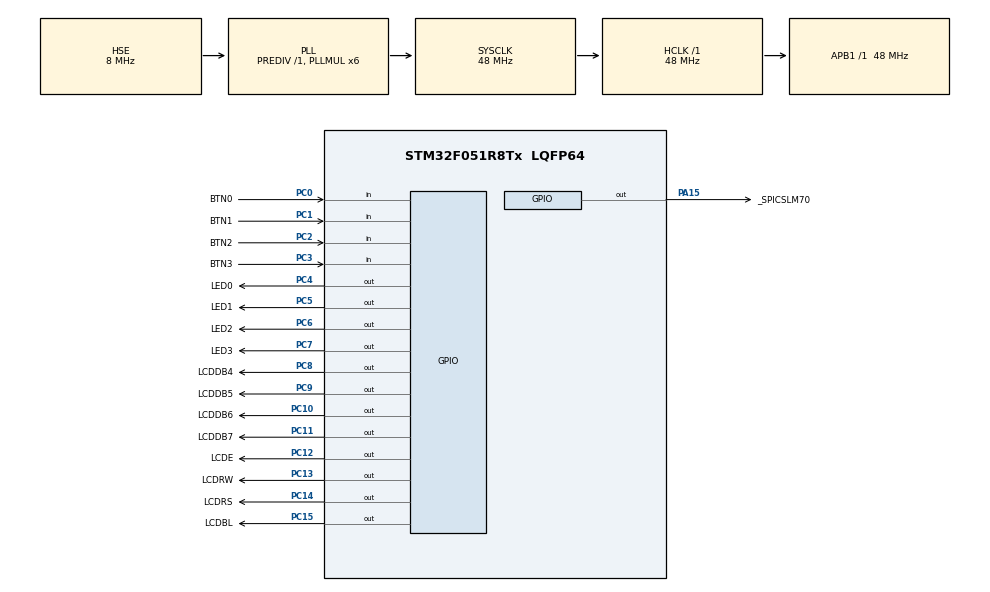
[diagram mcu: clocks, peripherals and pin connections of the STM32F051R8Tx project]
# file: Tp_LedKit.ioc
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Mcu.Family=STM32F0
Mcu.Name=STM32F051R8Tx
Mcu.Package=LQFP64
PA13.Mode=Serial_Wire
PA13.Signal=SYS_SWDIO
PA14.Mode=Serial_Wire
PA14.Signal=SYS_SWCLK
PA15.GPIO_Label=_SPICSLM70
PA15.PinState=GPIO_PIN_SET
PA15.Signal=GPIO_Output
PA5.GPIO_Label=SPISCK
PA5.Signal=SPI1_SCK
PA6.GPIO_Label=SPIMISO
PA6.Signal=SPI1_MISO
PC0.GPIO_Label=BTN0
PC0.Signal=GPIO_Input
PC1.GPIO_Label=BTN1
PC1.Signal=GPIO_Input
PC10.GPIO_Label=LCDDB6
PC10.Signal=GPIO_Output
PC11.GPIO_Label=LCDDB7
PC11.Signal=GPIO_Output
PC12.GPIO_Label=LCDE
PC12.Signal=GPIO_Output
PC13.GPIO_Label=LCDRW
PC13.Signal=GPIO_Output
PC14-OSC32_IN.GPIO_Label=LCDRS
PC14-OSC32_IN.Signal=GPIO_Output
PC15-OSC32_OUT.GPIO_Label=LCDBL
PC15-OSC32_OUT.Signal=GPIO_Output
PC2.GPIO_Label=BTN2
PC2.Signal=GPIO_Input
PC3.GPIO_Label=BTN3
PC3.Signal=GPIO_Input
PC4.GPIO_Label=LED0
PC4.PinState=GPIO_PIN_SET
PC4.Signal=GPIO_Output
PC5.GPIO_Label=LED1
PC5.PinState=GPIO_PIN_SET
PC5.Signal=GPIO_Output
PC6.GPIO_Label=LED2
PC6.PinState=GPIO_PIN_SET
PC6.Signal=GPIO_Output
PC7.GPIO_Label=LED3
PC7.PinState=GPIO_PIN_SET
PC7.Signal=GPIO_Output
PC8.GPIO_Label=LCDDB4
PC8.Signal=GPIO_Output
PC9.GPIO_Label=LCDDB5
PC9.Signal=GPIO_Output
PF0-OSC_IN.GPIO_Label=OSCIN
PF0-OSC_IN.Mode=HSE-External-Oscillator
PF0-OSC_IN.Signal=RCC_OSC_IN
PF1-OSC_OUT.GPIO_Label=OSCOUT
PF1-OSC_OUT.Mode=HSE-External-Oscillator
PF1-OSC_OUT.Signal=RCC_OSC_OUT
PF6.Signal=I2C2_SCL
PF7.Signal=I2C2_SDA
ProjectManager.HeapSize=0x200
ProjectManager.StackSize=0x400
ProjectManager.TargetToolchain=MDK-ARM V5
RCC.AHBFreq_Value=48000000
RCC.APB1Freq_Value=48000000
RCC.APB1TimFreq_Value=48000000
RCC.EnbaleCSS=true
RCC.HCLKFreq_Value=48000000
RCC.PLLMUL=RCC_PLL_MUL6
RCC.PLLSourceVirtual=RCC_PLLSOURCE_HSE
RCC.SYSCLKFreq_VALUE=48000000
RCC.SYSCLKSource=RCC_SYSCLKSOURCE_PLLCLK
board=test01_blink

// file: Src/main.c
/* USER CODE BEGIN Header */
/**
  ******************************************************************************
  * @file           : main.c
  * @brief          : Main program body
  ******************************************************************************
  * Canevas pour le TP microcontrТleur LedKit
  * Cible : Kit ARM Cortex M0, carte 17400
  *
  * Auteur /date : SCA / 18.12.2020
  *
  * Etudiant(s) :
  *
  ******************************************************************************
  */
/* USER CODE END Header */
#include "main.h"
#include "gpio.h"

/* USER CODE BEGIN Includes */

#include "17400.h"
#include "stm32delays.h"
#include "stm32driverlcd.h"

/* USER CODE END Includes */

/* USER CODE BEGIN PD */
#define MAIN_DELAY    25

/* USER CODE END PD */

void SystemClock_Config(void);

int main(void)
{
  /* USER CODE BEGIN 1 */

	//variables locales
	uint8_t i;

  /* USER CODE END 1 */

  /* MCU Configuration--------------------------------------------------------*/

  /* Reset of all peripherals, Initializes the Flash interface and the Systick. */
  HAL_Init();

  /* Configure the system clock */
  SystemClock_Config();

  /* Initialize all configured peripherals */
  MX_GPIO_Init();
  /* USER CODE BEGIN 2 */

	//Init LCD
	lcd_init();
	printf_lcd("TP LedKit <annee>");
	lcd_gotoxy(1,2);
	printf_lcd("Vos noms");
	lcd_bl_on();

	//selon donnИe : durant 4 sec Ю l'init, chenillard D0>D3 250ms durant 4 s
	for(i=0 ; i<4 ; i++)
	{
		HAL_GPIO_WritePin(LED0_PORT, LED0_BIT, GPIO_PIN_RESET);
		delay_ms(250);
		HAL_GPIO_WritePin(LED0_PORT, LED0_BIT, GPIO_PIN_SET);
		HAL_GPIO_WritePin(LED1_PORT, LED1_BIT, GPIO_PIN_RESET);
		delay_ms(250);
		HAL_GPIO_WritePin(LED1_PORT, LED1_BIT, GPIO_PIN_SET);
		HAL_GPIO_WritePin(LED2_PORT, LED2_BIT, GPIO_PIN_RESET);
		delay_ms(250);
		HAL_GPIO_WritePin(LED2_PORT, LED2_BIT, GPIO_PIN_SET);
		HAL_GPIO_WritePin(LED3_PORT, LED3_BIT, GPIO_PIN_RESET);
		delay_ms(250);
		HAL_GPIO_WritePin(LED3_PORT, LED3_BIT, GPIO_PIN_SET);
	}

	//affichage initial

  /* USER CODE END 2 */

  /* Infinite loop */
  while (1)
  {

    /* USER CODE BEGIN 3 */

		//*** GESTION BOUTONS ET AFFICHAGE ***

		//*** GESTION LEDS EN FONCTION DU MODE ***

		//*** DELAI GLOBAL DANS LA BOUCLE (LA SEULE ATTENTE) ***
		delay_ms(MAIN_DELAY);
  }
  /* USER CODE END 3 */
}

void SystemClock_Config(void)
{
  RCC_OscInitTypeDef RCC_OscInitStruct = {0};
  RCC_ClkInitTypeDef RCC_ClkInitStruct = {0};

  /** Initializes the RCC Oscillators according to the specified parameters
  * in the RCC_OscInitTypeDef structure.
  */
  RCC_OscInitStruct.OscillatorType = RCC_OSCILLATORTYPE_HSE;
  RCC_OscInitStruct.HSEState = RCC_HSE_ON;
  RCC_OscInitStruct.PLL.PLLState = RCC_PLL_ON;
  RCC_OscInitStruct.PLL.PLLSource = RCC_PLLSOURCE_HSE;
  RCC_OscInitStruct.PLL.PLLMUL = RCC_PLL_MUL6;
  RCC_OscInitStruct.PLL.PREDIV = RCC_PREDIV_DIV1;
  if (HAL_RCC_OscConfig(&RCC_OscInitStruct) != HAL_OK)
  {
    Error_Handler();
  }
  /** Initializes the CPU, AHB and APB buses clocks
  */
  RCC_ClkInitStruct.ClockType = RCC_CLOCKTYPE_HCLK|RCC_CLOCKTYPE_SYSCLK
                              |RCC_CLOCKTYPE_PCLK1;
  RCC_ClkInitStruct.SYSCLKSource = RCC_SYSCLKSOURCE_PLLCLK;
  RCC_ClkInitStruct.AHBCLKDivider = RCC_SYSCLK_DIV1;
  RCC_ClkInitStruct.APB1CLKDivider = RCC_HCLK_DIV1;

  if (HAL_RCC_ClockConfig(&RCC_ClkInitStruct, FLASH_LATENCY_1) != HAL_OK)
  {
    Error_Handler();
  }
  /** Enables the Clock Security System
  */
  HAL_RCC_EnableCSS();
}

void Error_Handler(void)
{
}

/************************ (C) COPYRIGHT STMicroelectronics *****END OF FILE****/
